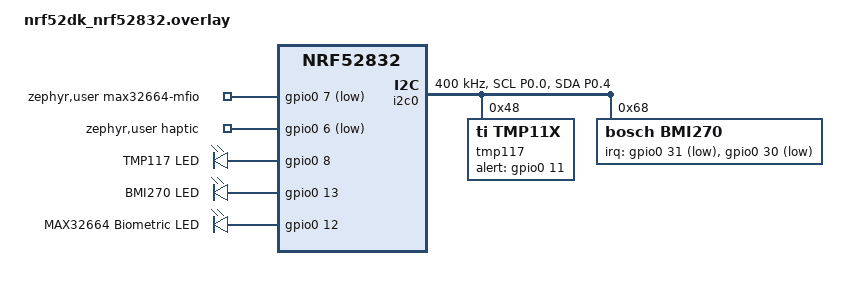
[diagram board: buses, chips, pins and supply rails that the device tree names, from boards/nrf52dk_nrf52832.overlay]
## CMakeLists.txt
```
cmake_minimum_required(VERSION 3.20.0)

set(DTS_ROOT ${DTS_ROOT} ${CMAKE_CURRENT_SOURCE_DIR})

find_package(Zephyr REQUIRED HINTS $ENV{ZEPHYR_BASE})
project(smart_health_band)

zephyr_include_directories(${CMAKE_CURRENT_SOURCE_DIR}/include)

target_sources(app PRIVATE
  src/main.c
  src/board.c
  src/power.c
  src/ble.c
  src/bmi270.c
  src/tmp117.c
  src/max32664.c
)
```

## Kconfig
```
mainmenu "Smart Health Band"

source "Kconfig.zephyr"

menu "Smart Health Band"

config SHB_LOG_LEVEL
	int "Firmware log level"
	range 0 4
	default 3

config SHB_BMI_ANYMOTION_WAKE
	bool "Enable BMI270 any-motion wake"
	default y

config SHB_BMI_ANYMOTION_DURATION_MS
	int "BMI270 any-motion duration (ms)"
	range 20 1000
	default 20
	help
	  Shorter duration is needed to catch impulsive taps. The tap peak
	  verification in firmware then filters out non-tap motion.

config SHB_BMI_ANYMOTION_THRESHOLD_MG
	int "BMI270 any-motion threshold (mg)"
	range 1 1000
	default 500
	help
	  Initial gate for the BMI270 any-motion IRQ. Raised to 500 mg so
	  sustained wrist motion and finger pressure on the PPG sensor do
	  not wake the CPU. Real impulsive taps still produce far higher
	  peaks and fire reliably.

config SHB_BMI_TAP_IMPULSE_MG
	int "Tap impulse threshold: |a|-1g at IRQ-time sample (mg)"
	range 200 3000
	default 600
	help
	  After the any-motion IRQ the firmware samples total accel magnitude
	  and subtracts 1 g (gravity baseline). A real tap briefly spikes
	  well above 1 g; anything below this threshold is rejected as
	  sustained tilt / finger press / walking.

config SHB_BMI_TAP_DECAY_MG
	int "Tap decay threshold: impulse minus follow-up sample (mg)"
	range 100 2000
	default 400
	help
	  Taps are impulsive: the |a|-1g excursion must decay within ~25 ms.
	  A sustained tilt keeps |a| at ~1 g+constant so decay ~= 0 and is
	  rejected. Real taps show decay >> 400 mg between back-to-back
	  samples.

config SHB_BMI_MOTION_ACCEL_THRESHOLD_MG
	int "BMI270 poll-based motion accel delta threshold (mg)"
	range 1 2000
	default 50

config SHB_BMI_MOTION_GYRO_THRESHOLD_MDPS
	int "BMI270 poll-based motion gyro threshold (mdps)"
	range 100 2000000
	default 5000

config SHB_BMI_NO_MOTION_DURATION_MS
	int "BMI270 poll-based no-motion duration (ms)"
	range 100 60000
	default 3000

config SHB_BMI_SIG_MOTION_DURATION_MS
	int "BMI270 poll-based significant-motion duration (ms)"
	range 1000 60000
	default 5000

config SHB_BMI_DOUBLE_TAP_GAP_MS
	int "Maximum gap between two taps for double-tap classification (ms)"
	range 100 800
	default 350
	help
	  Also doubles as the single-tap confirmation timer — a first tap that
	  is not followed by a second within this window is emitted as a
	  single tap.

config SHB_BMI_DOUBLE_TAP_MIN_GAP_MS
	int "Minimum gap between taps to suppress ringing noise (ms)"
	range 50 300
	default 100

config SHB_BMI_TAP_REFRACTORY_MS
	int "Blanking period after any tap event is emitted (ms)"
	range 100 1500
	default 700

config SHB_BMI_INTERRUPT_WATCHDOG_S
	int "BMI270 interrupt watchdog (s)"
	range 0 3600
	default 30

config SHB_SENSOR_POLL_INTERVAL_MS
	int "Sensor poll interval (ms)"
	range 100 60000
	default 1000

config SHB_MAX32664_AGC_ENABLED
	bool "Enable MAX32664 automatic gain control (AGC)"
	default y

config SHB_MAX32664_CAL_TIMEOUT_S
	int "MAX32664 BPT calibration timeout (s, 0 = none)"
	range 0 600
	default 90
	help
	  If BPT calibration progress does not reach 100% within this
	  window, abort the calibration loop instead of blocking forever.
	  The hub's progress counter only advances under continuously
	  stable PPG; wrist placement routinely fails to accumulate
	  because tendon motion keeps resetting it. With a timeout we at
	  least exit cleanly and the main loop can continue running
	  temperature/tap/BLE without the session stuck.

config SHB_MAX32664_THREAD_STACK_SIZE
	int "MAX32664 session thread stack size (bytes)"
	range 2048 8192
	default 4096

config SHB_MAX32664_THREAD_PRIORITY
	int "MAX32664 session thread priority"
	range 1 14
	default 5

config SHB_MAX32664_BP_SYS_REF_0
	int "Systolic BP reference 0 (mmHg)"
	range 60 200
	default 120

config SHB_MAX32664_BP_SYS_REF_1
	int "Systolic BP reference 1 (mmHg)"
	range 60 200
	default 122

config SHB_MAX32664_BP_SYS_REF_2
	int "Systolic BP reference 2 (mmHg)"
	range 60 200
	default 125

config SHB_MAX32664_BP_DIA_REF_0
	int "Diastolic BP reference 0 (mmHg)"
	range 40 130
	default 80

config SHB_MAX32664_BP_DIA_REF_1
	int "Diastolic BP reference 1 (mmHg)"
	range 40 130
	default 81

config SHB_MAX32664_BP_DIA_REF_2
	int "Diastolic BP reference 2 (mmHg)"
	range 40 130
	default 82

config SHB_MAX32664_SPO2_COEF_A
	int "SpO2 coefficient A scaled by 100000 (Maxim default: round(1e5 x 1.5958422) = 159584)"
	default 159584

config SHB_MAX32664_SPO2_COEF_B
	int "SpO2 coefficient B scaled by 100000 (Maxim default: round(1e5 x -34.659664) = -3465966)"
	default -3465966

config SHB_MAX32664_SPO2_COEF_C
	int "SpO2 coefficient C scaled by 100000 (Maxim default: round(1e5 x 112.68987) = 11268987)"
	default 11268987

endmenu
```

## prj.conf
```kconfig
CONFIG_CLOCK_CONTROL_NRF_K32SRC_RC=y
CONFIG_CLOCK_CONTROL_NRF_K32SRC_RC_CALIBRATION=y

CONFIG_I2C=y
CONFIG_GPIO=y
CONFIG_SENSOR=y
CONFIG_EVENTS=y
CONFIG_PM_DEVICE=y

CONFIG_CONSOLE=y
CONFIG_PRINTK=y
CONFIG_LOG=y
CONFIG_LOG_DEFAULT_LEVEL=3
CONFIG_USE_SEGGER_RTT=y
CONFIG_RTT_CONSOLE=y
CONFIG_LOG_BACKEND_RTT=y
CONFIG_UART_CONSOLE=n
CONFIG_SEGGER_RTT_BUFFER_SIZE_UP=2048
CONFIG_THREAD_NAME=y
CONFIG_ASSERT=y

CONFIG_SIZE_OPTIMIZATIONS=y
CONFIG_MAIN_STACK_SIZE=4096
CONFIG_SYSTEM_WORKQUEUE_STACK_SIZE=2048

CONFIG_BMI270=y
CONFIG_BMI270_TRIGGER_OWN_THREAD=y

CONFIG_SHB_BMI_ANYMOTION_WAKE=y
CONFIG_SHB_SENSOR_POLL_INTERVAL_MS=1000

CONFIG_FLASH=y
CONFIG_FLASH_MAP=y
CONFIG_FLASH_PAGE_LAYOUT=y
CONFIG_NVS=y
CONFIG_CRC=y
CONFIG_HEAP_MEM_POOL_SIZE=4096
CONFIG_I2C_NRFX_TRANSFER_TIMEOUT=40

# MAX32664D BPT calibration can remain at 0% for a long time when the
# optical placement is marginal. Do not abort the MAX32664 session after
# 90 s; keep the calibration loop alive so it can complete when the finger
# placement becomes stable enough.
CONFIG_SHB_MAX32664_CAL_TIMEOUT_S=0

# BLE
CONFIG_BT=y
CONFIG_BT_PERIPHERAL=y
CONFIG_BT_DEVICE_NAME="SmartHealth Band"
CONFIG_BT_MAX_CONN=1
CONFIG_BT_SMP=n
CONFIG_BT_L2CAP_TX_MTU=64
CONFIG_BT_BUF_ACL_TX_SIZE=100
CONFIG_BT_BUF_ACL_RX_SIZE=100
CONFIG_BT_RX_STACK_SIZE=1024
CONFIG_BT_GAP_AUTO_UPDATE_CONN_PARAMS=y
CONFIG_BT_ATT_PREPARE_COUNT=0
```

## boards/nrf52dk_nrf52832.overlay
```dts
#include <zephyr/dt-bindings/gpio/gpio.h>
#include <zephyr/dt-bindings/i2c/i2c.h>
#include <zephyr/dt-bindings/pinctrl/nrf-pinctrl.h>

/ {
	zephyr,user {
		/*
		 * CRITICAL FIX:
		 * MAX32664D RSTN is tied to the shared board reset / BMD-350 RESET_N
		 * domain. Do not map P0.21, or any placeholder pin, as firmware-owned
		 * MAX32664 reset. This firmware uses MFIO only and expects the hub to
		 * enter application mode after board power-up / hardware reset.
		 */
		max32664-mfio-gpios = <&gpio0 7 GPIO_ACTIVE_LOW>;
		haptic-gpios = <&gpio0 6 GPIO_ACTIVE_LOW>;
	};

	aliases {
		tmp-led = &tmp_led;
		bmi-led = &bmi_led;
		heart-led = &heart_led;
	};

	leds {
		compatible = "gpio-leds";

		tmp_led: tmp-led {
			gpios = <&gpio0 8 GPIO_ACTIVE_HIGH>;
			label = "TMP117 LED";
		};

		bmi_led: bmi-led {
			gpios = <&gpio0 13 GPIO_ACTIVE_HIGH>;
			label = "BMI270 LED";
		};

		heart_led: heart-led {
			gpios = <&gpio0 12 GPIO_ACTIVE_HIGH>;
			label = "MAX32664 Biometric LED";
		};
	};
};

&pinctrl {
	i2c0_default: i2c0_default {
		group1 {
			psels = <NRF_PSEL(TWIM_SCL, 0, 0)>,
				<NRF_PSEL(TWIM_SDA, 0, 4)>;
			bias-pull-up;
		};
	};

	i2c0_sleep: i2c0_sleep {
		group1 {
			psels = <NRF_PSEL(TWIM_SCL, 0, 0)>,
				<NRF_PSEL(TWIM_SDA, 0, 4)>;
			low-power-enable;
		};
	};
};

&i2c0 {
	compatible = "nordic,nrf-twi";
	status = "okay";
	pinctrl-0 = <&i2c0_default>;
	pinctrl-1 = <&i2c0_sleep>;
	pinctrl-names = "default", "sleep";
	clock-frequency = <I2C_BITRATE_FAST>;

	tmp117: temperature@48 {
		compatible = "ti,tmp11x";
		reg = <0x48>;
		alert-gpios = <&gpio0 11 GPIO_ACTIVE_HIGH>;
		status = "okay";
	};

	bmi270: imu@68 {
		compatible = "bosch,bmi270", "bosch,bmi270-base";
		reg = <0x68>;
		irq-gpios = <&gpio0 31 GPIO_ACTIVE_LOW>,
			    <&gpio0 30 GPIO_ACTIVE_LOW>;
		status = "okay";
	};
};
```

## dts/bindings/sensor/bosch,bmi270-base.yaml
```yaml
description: Bosch BMI270 base binding shim for the Smart Health Band project

compatible: "bosch,bmi270-base"

include:
  - name: sensor-device.yaml
  - name: i2c-device.yaml
```

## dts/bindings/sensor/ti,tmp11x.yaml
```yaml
description: Texas Instruments TMP116/TMP117/TMP119 temperature sensor

compatible: "ti,tmp11x"

include:
  - name: sensor-device.yaml
  - name: i2c-device.yaml

properties:
  alert-gpios:
    type: phandle-array
    description: Optional ALERT pin for threshold or data-ready signaling.
  odr:
    type: int
    default: 0x0000
    description: TMP11x conversion-rate field value written into CFGR.
  oversampling:
    type: int
    default: 0
    description: TMP11x averaging field value written into CFGR.
  alert-polarity:
    type: boolean
  alert-mode:
    type: boolean
  alert-dr-sel:
    type: boolean
  store-attr-values:
    type: boolean
```

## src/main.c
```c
#include <errno.h>
#include <zephyr/drivers/sensor.h>
#include <zephyr/kernel.h>
#include <zephyr/logging/log.h>
#include "shb/ble.h"
#include "shb/board.h"
#include "shb/bmi270.h"
#include "shb/max32664.h"
#include "shb/power.h"
#include "shb/tmp117.h"

LOG_MODULE_REGISTER(shb_main, CONFIG_SHB_LOG_LEVEL);

struct shb_sensor_fmt {
	const char *sign;
	uint32_t whole;
	uint32_t frac;
};

static struct shb_sensor_fmt shb_sensor_fmt_4(const struct sensor_value *value)
{
	int64_t micro = ((int64_t)value->val1 * 1000000LL) + value->val2;
	uint64_t abs_micro = (micro < 0) ? (uint64_t)(-micro) : (uint64_t)micro;
	struct shb_sensor_fmt formatted = {
		.sign = (micro < 0) ? "-" : "",
		.whole = (uint32_t)(abs_micro / 1000000ULL),
		.frac = (uint32_t)((abs_micro % 1000000ULL) / 100ULL),
	};

	return formatted;
}

static void shb_log_temperature(void)
{
	struct sensor_value temp;
	struct shb_sensor_fmt formatted;
	int ret = shb_tmp117_read_temperature(&temp);

	if (ret < 0) {
		LOG_ERR("TMP117 read failed: %d", ret);
		return;
	}

	formatted = shb_sensor_fmt_4(&temp);
	(void)shb_board_led_pulse(SHB_LED_TEMP, K_MSEC(50));
	(void)shb_ble_notify_temperature(&temp);
	LOG_INF("TMP117: %s%u.%04u C",
		formatted.sign,
		(unsigned int)formatted.whole,
		(unsigned int)formatted.frac);
}

static void shb_bmi270_irq_wake_cb(void)
{
	shb_power_signal(SHB_POWER_EVENT_BMI_MOTION);
}

static void shb_log_bmi270(void)
{
	struct shb_bmi270_sample sample;
	struct shb_bmi270_motion_state motion;
	struct shb_sensor_fmt accel_x;
	struct shb_sensor_fmt accel_y;
	struct shb_sensor_fmt accel_z;
	struct shb_sensor_fmt gyro_x;
	struct shb_sensor_fmt gyro_y;
	struct shb_sensor_fmt gyro_z;
	int ret = shb_bmi270_read_sample(&sample);

	if (ret < 0) {
		LOG_ERR("BMI270 sample read failed: %d", ret);
		return;
	}

	(void)shb_bmi270_process_motion(&sample, &motion);
	(void)shb_ble_notify_motion(&motion);

	accel_x = shb_sensor_fmt_4(&sample.accel_xyz[0]);
	accel_y = shb_sensor_fmt_4(&sample.accel_xyz[1]);
	accel_z = shb_sensor_fmt_4(&sample.accel_xyz[2]);
	gyro_x = shb_sensor_fmt_4(&sample.gyro_xyz[0]);
	gyro_y = shb_sensor_fmt_4(&sample.gyro_xyz[1]);
	gyro_z = shb_sensor_fmt_4(&sample.gyro_xyz[2]);

	LOG_INF("BMI270 accel: X=%s%u.%04u Y=%s%u.%04u Z=%s%u.%04u m/s^2 | gyro: X=%s%u.%04u Y=%s%u.%04u Z=%s%u.%04u dps | state=%s accel-delta=%u mg gyro-peak=%u mdps",
		accel_x.sign, (unsigned int)accel_x.whole, (unsigned int)accel_x.frac,
		accel_y.sign, (unsigned int)accel_y.whole, (unsigned int)accel_y.frac,
		accel_z.sign, (unsigned int)accel_z.whole, (unsigned int)accel_z.frac,
		gyro_x.sign, (unsigned int)gyro_x.whole, (unsigned int)gyro_x.frac,
		gyro_y.sign, (unsigned int)gyro_y.whole, (unsigned int)gyro_y.frac,
		gyro_z.sign, (unsigned int)gyro_z.whole, (unsigned int)gyro_z.frac,
		motion.moving ? "moving" : "still",
		(unsigned int)motion.accel_delta_mg,
		(unsigned int)motion.gyro_peak_mdps);

	if ((motion.events & SHB_BMI270_EVENT_MOTION) != 0U) {
		(void)shb_board_led_pulse(SHB_LED_BMI, K_MSEC(50));
		LOG_INF("BMI270 motion detected");
	}

	if ((motion.events & SHB_BMI270_EVENT_SIGNIFICANT_MOTION) != 0U) {
		(void)shb_board_led_pulse(SHB_LED_BMI, K_MSEC(120));
		LOG_INF("BMI270 significant motion detected");
	}

	if ((motion.events & SHB_BMI270_EVENT_NO_MOTION) != 0U) {
		LOG_INF("BMI270 no-motion detected");
	}
}

static void shb_handle_max32664_vitals_event(void)
{
	struct shb_max32664_result latest = { 0 };

	shb_max32664_get_latest(&latest);
	(void)shb_ble_notify_vitals(&latest);
	if (latest.valid) {
		(void)shb_board_led_pulse(SHB_LED_HEART, K_MSEC(60));
	}
}

static void shb_handle_power_events(void)
{
	uint32_t events = shb_power_wait_for_wake(K_NO_WAIT);

	if ((events & SHB_POWER_EVENT_BMI_MOTION) != 0U) {
		LOG_INF("BMI270 INT1 any-motion interrupt observed");
		(void)shb_board_led_pulse(SHB_LED_BMI, K_MSEC(40));
	}

	if ((events & SHB_POWER_EVENT_MAX32664_VITALS) != 0U) {
		shb_handle_max32664_vitals_event();
	}
}

int main(void)
{
	int ret;
	bool max_session_enabled = false;

	LOG_INF("Smart Health Band critical-fix runtime boot");

	ret = shb_board_init();
	if (ret < 0) {
		LOG_ERR("Board initialization failed: %d", ret);
		return ret;
	}

	shb_board_log_pin_summary();

	ret = shb_power_init();
	if (ret < 0) {
		LOG_ERR("Power event initialization failed: %d", ret);
		return ret;
	}

	ret = shb_ble_init();
	if (ret < 0) {
		LOG_ERR("BLE initialization failed: %d", ret);
	} else {
		LOG_INF("BLE initialized");
	}

	ret = shb_tmp117_init();
	if (ret < 0) {
		LOG_ERR("TMP117 missing or misconfigured: %d", ret);
	} else {
		shb_log_temperature();
	}

	ret = shb_bmi270_init(shb_bmi270_irq_wake_cb);
	if (ret < 0) {
		LOG_ERR("BMI270 chip/config failure: %d", ret);
	} else {
		if (IS_ENABLED(CONFIG_SHB_BMI_ANYMOTION_WAKE)) {
			ret = shb_bmi270_configure_any_motion();
			if (ret < 0) {
				LOG_ERR("BMI270 interrupt setup failed: %d", ret);
			}
		}

		LOG_INF("Taking initial BMI270 sample");
		shb_log_bmi270();
	}

	LOG_INF("Starting MAX32664 initialization without firmware-driven RSTN");
	ret = shb_max32664_init();
	if (ret < 0) {
		LOG_ERR("MAX32664 init failed: %d", ret);
		LOG_ERR("If this fails consistently, check that MAX32664 RSTN has a hardware pull-up/shared reset and MFIO defaults high at power-up.");
	} else {
		ret = shb_max32664_start_session();
		if (ret < 0) {
			LOG_ERR("MAX32664 vitals session start failed: %d", ret);
		} else {
			max_session_enabled = true;
			LOG_INF("MAX32664 vitals session started");
		}
	}

	LOG_INF("Polling TMP117 and BMI270 every %d ms; BLE notifications active when connected",
		CONFIG_SHB_SENSOR_POLL_INTERVAL_MS);

	while (1) {
		if (shb_tmp117_is_ready()) {
			shb_log_temperature();
		}

		if (shb_bmi270_is_ready()) {
			shb_log_bmi270();
		}

		if (max_session_enabled || IS_ENABLED(CONFIG_SHB_BMI_ANYMOTION_WAKE)) {
			shb_handle_power_events();
		}

		shb_power_enter_idle();
		k_sleep(K_MSEC(CONFIG_SHB_SENSOR_POLL_INTERVAL_MS));
	}
}
```

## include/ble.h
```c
#ifndef SHB_BLE_H_
#define SHB_BLE_H_

#include <stdbool.h>
#include <stdint.h>
#include <zephyr/drivers/sensor.h>
#include <zephyr/toolchain.h>
#include "shb/bmi270.h"
#include "shb/max32664.h"

struct shb_ble_vitals_payload {
	uint8_t valid;
	uint8_t status;
	uint8_t progress;
	uint8_t sys_bp;
	uint8_t dia_bp;
	uint16_t hr_x10;
	uint16_t spo2_x10;
} __packed;

struct shb_ble_temp_payload {
	int32_t temp_mdeg_c;
} __packed;

struct shb_ble_motion_payload {
	uint8_t moving;
	uint8_t significant_active;
	uint16_t reserved;
	uint32_t events;
	uint32_t accel_delta_mg;
	uint32_t gyro_peak_mdps;
} __packed;

int shb_ble_init(void);
bool shb_ble_is_connected(void);
int shb_ble_notify_vitals(const struct shb_max32664_result *result);
int shb_ble_notify_temperature(const struct sensor_value *temperature);
int shb_ble_notify_motion(const struct shb_bmi270_motion_state *motion);

#endif
```

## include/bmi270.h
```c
#ifndef SHB_BMI270_H_
#define SHB_BMI270_H_

#include <stdbool.h>
#include <stdint.h>
#include <zephyr/drivers/sensor.h>
#include <zephyr/sys/util.h>

typedef void (*shb_bmi270_wake_cb_t)(void);

enum shb_bmi270_motion_event {
	SHB_BMI270_EVENT_NONE               = 0,
	SHB_BMI270_EVENT_MOTION             = BIT(0),
	SHB_BMI270_EVENT_NO_MOTION          = BIT(1),
	SHB_BMI270_EVENT_SIGNIFICANT_MOTION = BIT(2),
	SHB_BMI270_EVENT_TAP                = BIT(3),
	SHB_BMI270_EVENT_DOUBLE_TAP         = BIT(4),
};

struct shb_bmi270_sample {
	struct sensor_value accel_xyz[3];
	struct sensor_value gyro_xyz[3];
};

struct shb_bmi270_motion_state {
	bool moving;
	bool significant_active;
	uint32_t events;
	uint32_t accel_delta_mg;
	uint32_t gyro_peak_mdps;
};

int shb_bmi270_init(shb_bmi270_wake_cb_t wake_cb);
int shb_bmi270_configure_any_motion(void);
int shb_bmi270_read_accel(struct sensor_value accel_xyz[3]);
int shb_bmi270_read_gyro(struct sensor_value gyro_xyz[3]);
int shb_bmi270_read_sample(struct shb_bmi270_sample *sample);
uint32_t shb_bmi270_process_motion(const struct shb_bmi270_sample *sample,
				   struct shb_bmi270_motion_state *state_out);
void shb_bmi270_get_motion_state(struct shb_bmi270_motion_state *state_out);
uint32_t shb_bmi270_consume_gesture_events(void);
bool shb_bmi270_is_ready(void);

#endif
```

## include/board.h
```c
#ifndef SHB_BOARD_H_
#define SHB_BOARD_H_

#include <stdbool.h>
#include <zephyr/kernel.h>

enum shb_led_id {
	SHB_LED_TEMP = 0,
	SHB_LED_BMI,
	SHB_LED_HEART,
	SHB_LED_COUNT,
};

int shb_board_init(void);
void shb_board_log_pin_summary(void);
int shb_board_led_set(enum shb_led_id led, bool on);
int shb_board_led_pulse(enum shb_led_id led, k_timeout_t duration);

#endif
```

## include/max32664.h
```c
#ifndef SHB_MAX32664_H_
#define SHB_MAX32664_H_

#include <stdbool.h>
#include <stdint.h>

struct shb_max32664_result {
	bool valid;
	uint16_t hr_x10;
	uint16_t spo2_x10;
	uint8_t sys_bp;
	uint8_t dia_bp;
	uint8_t status;
	uint8_t progress;
};

int shb_max32664_init(void);
int shb_max32664_start_session(void);
bool shb_max32664_is_ready(void);
void shb_max32664_get_latest(struct shb_max32664_result *result_out);

#endif
```

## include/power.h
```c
#ifndef SHB_POWER_H_
#define SHB_POWER_H_

#include <stdint.h>
#include <zephyr/kernel.h>

enum shb_power_event {
	SHB_POWER_EVENT_BMI_MOTION        = BIT(0),
	SHB_POWER_EVENT_TMP_TIMER         = BIT(1),
	SHB_POWER_EVENT_MAX32664_VITALS   = BIT(2),
	SHB_POWER_EVENT_BMI_GESTURE       = BIT(3),
};

int shb_power_init(void);
void shb_power_enter_idle(void);
void shb_power_signal(uint32_t events);
uint32_t shb_power_wait_for_wake(k_timeout_t timeout);

#endif
```

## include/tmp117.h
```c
#ifndef SHB_TMP117_H_
#define SHB_TMP117_H_

#include <stdbool.h>
#include <zephyr/drivers/sensor.h>

int shb_tmp117_init(void);
int shb_tmp117_read_temperature(struct sensor_value *temperature);
bool shb_tmp117_is_ready(void);

#endif
```

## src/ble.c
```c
#include <errno.h>
#include <stddef.h>
#include <stdint.h>
#include <string.h>

#include <zephyr/bluetooth/bluetooth.h>
#include <zephyr/bluetooth/conn.h>
#include <zephyr/bluetooth/gatt.h>
#include <zephyr/bluetooth/uuid.h>
#include <zephyr/drivers/sensor.h>
#include <zephyr/kernel.h>
#include <zephyr/logging/log.h>
#include <zephyr/settings/settings.h>
#include <zephyr/sys/byteorder.h>

#include "shb/ble.h"

LOG_MODULE_REGISTER(shb_ble, CONFIG_SHB_LOG_LEVEL);

/* 128-bit vendor service UUIDs: f364xxxx-8f22-4c9f-9a58-8d62c6f2b001 */
#define BT_UUID_SHB_SERVICE_VAL \
	BT_UUID_128_ENCODE(0xf3640000, 0x8f22, 0x4c9f, 0x9a58, 0x8d62c6f2b001)
#define BT_UUID_SHB_VITALS_VAL \
	BT_UUID_128_ENCODE(0xf3640001, 0x8f22, 0x4c9f, 0x9a58, 0x8d62c6f2b001)
#define BT_UUID_SHB_TEMP_VAL \
	BT_UUID_128_ENCODE(0xf3640002, 0x8f22, 0x4c9f, 0x9a58, 0x8d62c6f2b001)
#define BT_UUID_SHB_MOTION_VAL \
	BT_UUID_128_ENCODE(0xf3640003, 0x8f22, 0x4c9f, 0x9a58, 0x8d62c6f2b001)

static struct bt_uuid_128 shb_service_uuid = BT_UUID_INIT_128(BT_UUID_SHB_SERVICE_VAL);
static struct bt_uuid_128 shb_vitals_uuid = BT_UUID_INIT_128(BT_UUID_SHB_VITALS_VAL);
static struct bt_uuid_128 shb_temp_uuid = BT_UUID_INIT_128(BT_UUID_SHB_TEMP_VAL);
static struct bt_uuid_128 shb_motion_uuid = BT_UUID_INIT_128(BT_UUID_SHB_MOTION_VAL);

static struct bt_conn *shb_current_conn;
static bool shb_ble_ready;

static struct shb_ble_vitals_payload shb_latest_vitals;
static struct shb_ble_temp_payload shb_latest_temp;
static struct shb_ble_motion_payload shb_latest_motion;

static ssize_t read_vitals(struct bt_conn *conn, const struct bt_gatt_attr *attr,
				  void *buf, uint16_t len, uint16_t offset)
{
	const struct shb_ble_vitals_payload *value = attr->user_data;

	return bt_gatt_attr_read(conn, attr, buf, len, offset, value, sizeof(*value));
}

static ssize_t read_temp(struct bt_conn *conn, const struct bt_gatt_attr *attr,
			       void *buf, uint16_t len, uint16_t offset)
{
	const struct shb_ble_temp_payload *value = attr->user_data;

	return bt_gatt_attr_read(conn, attr, buf, len, offset, value, sizeof(*value));
}

static ssize_t read_motion(struct bt_conn *conn, const struct bt_gatt_attr *attr,
				  void *buf, uint16_t len, uint16_t offset)
{
	const struct shb_ble_motion_payload *value = attr->user_data;

	return bt_gatt_attr_read(conn, attr, buf, len, offset, value, sizeof(*value));
}

BT_GATT_SERVICE_DEFINE(shb_svc,
	BT_GATT_PRIMARY_SERVICE(&shb_service_uuid),

	BT_GATT_CHARACTERISTIC(&shb_vitals_uuid.uuid,
		BT_GATT_CHRC_READ | BT_GATT_CHRC_NOTIFY,
		BT_GATT_PERM_READ,
		read_vitals, NULL, &shb_latest_vitals),
	BT_GATT_CCC(NULL, BT_GATT_PERM_READ | BT_GATT_PERM_WRITE),

	BT_GATT_CHARACTERISTIC(&shb_temp_uuid.uuid,
		BT_GATT_CHRC_READ | BT_GATT_CHRC_NOTIFY,
		BT_GATT_PERM_READ,
		read_temp, NULL, &shb_latest_temp),
	BT_GATT_CCC(NULL, BT_GATT_PERM_READ | BT_GATT_PERM_WRITE),

	BT_GATT_CHARACTERISTIC(&shb_motion_uuid.uuid,
		BT_GATT_CHRC_READ | BT_GATT_CHRC_NOTIFY,
		BT_GATT_PERM_READ,
		read_motion, NULL, &shb_latest_motion),
	BT_GATT_CCC(NULL, BT_GATT_PERM_READ | BT_GATT_PERM_WRITE)
);

#define SHB_ATTR_VITALS_VALUE 2
#define SHB_ATTR_TEMP_VALUE 5
#define SHB_ATTR_MOTION_VALUE 8

static const struct bt_data ad[] = {
	BT_DATA_BYTES(BT_DATA_FLAGS, (BT_LE_AD_GENERAL | BT_LE_AD_NO_BREDR)),
	BT_DATA(BT_DATA_NAME_COMPLETE, CONFIG_BT_DEVICE_NAME, sizeof(CONFIG_BT_DEVICE_NAME) - 1),
};

static void connected(struct bt_conn *conn, uint8_t err)
{
	if (err != 0U) {
		LOG_WRN("BLE connection failed: 0x%02x", err);
		return;
	}

	shb_current_conn = bt_conn_ref(conn);
	LOG_INF("BLE connected");
}

static void disconnected(struct bt_conn *conn, uint8_t reason)
{
	ARG_UNUSED(conn);

	if (shb_current_conn != NULL) {
		bt_conn_unref(shb_current_conn);
		shb_current_conn = NULL;
	}

	LOG_INF("BLE disconnected: 0x%02x", reason);
}

BT_CONN_CB_DEFINE(shb_conn_callbacks) = {
	.connected = connected,
	.disconnected = disconnected,
};

int shb_ble_init(void)
{
	int ret;

	ret = bt_enable(NULL);
	if (ret != 0) {
		LOG_ERR("bt_enable failed: %d", ret);
		return ret;
	}

	if (IS_ENABLED(CONFIG_SETTINGS)) {
		settings_load();
	}

	ret = bt_le_adv_start(BT_LE_ADV_CONN, ad, ARRAY_SIZE(ad), NULL, 0);
	if (ret != 0) {
		LOG_ERR("BLE advertising start failed: %d", ret);
		return ret;
	}

	shb_ble_ready = true;
	LOG_INF("BLE advertising as %s", CONFIG_BT_DEVICE_NAME);
	return 0;
}

bool shb_ble_is_connected(void)
{
	return shb_current_conn != NULL;
}

int shb_ble_notify_vitals(const struct shb_max32664_result *result)
{
	if ((result == NULL) || !shb_ble_ready) {
		return -EINVAL;
	}

	shb_latest_vitals.valid = result->valid ? 1U : 0U;
	shb_latest_vitals.status = result->status;
	shb_latest_vitals.progress = result->progress;
	shb_latest_vitals.sys_bp = result->sys_bp;
	shb_latest_vitals.dia_bp = result->dia_bp;
	shb_latest_vitals.hr_x10 = sys_cpu_to_le16(result->hr_x10);
	shb_latest_vitals.spo2_x10 = sys_cpu_to_le16(result->spo2_x10);

	if (shb_current_conn == NULL) {
		return 0;
	}

	return bt_gatt_notify(NULL, &shb_svc.attrs[SHB_ATTR_VITALS_VALUE],
			      &shb_latest_vitals, sizeof(shb_latest_vitals));
}

int shb_ble_notify_temperature(const struct sensor_value *temperature)
{
	int64_t micro_c;

	if ((temperature == NULL) || !shb_ble_ready) {
		return -EINVAL;
	}

	micro_c = ((int64_t)temperature->val1 * 1000000LL) + temperature->val2;
	shb_latest_temp.temp_mdeg_c = (int32_t)(micro_c / 1000LL);

	if (shb_current_conn == NULL) {
		return 0;
	}

	return bt_gatt_notify(NULL, &shb_svc.attrs[SHB_ATTR_TEMP_VALUE],
			      &shb_latest_temp, sizeof(shb_latest_temp));
}

int shb_ble_notify_motion(const struct shb_bmi270_motion_state *motion)
{
	if ((motion == NULL) || !shb_ble_ready) {
		return -EINVAL;
	}

	shb_latest_motion.moving = motion->moving ? 1U : 0U;
	shb_latest_motion.significant_active = motion->significant_active ? 1U : 0U;
	shb_latest_motion.reserved = 0U;
	shb_latest_motion.events = sys_cpu_to_le32(motion->events);
	shb_latest_motion.accel_delta_mg = sys_cpu_to_le32(motion->accel_delta_mg);
	shb_latest_motion.gyro_peak_mdps = sys_cpu_to_le32(motion->gyro_peak_mdps);

	if (shb_current_conn == NULL) {
		return 0;
	}

	return bt_gatt_notify(NULL, &shb_svc.attrs[SHB_ATTR_MOTION_VALUE],
			      &shb_latest_motion, sizeof(shb_latest_motion));
}
```

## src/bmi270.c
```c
#include <errno.h>
#include <string.h>
#include <zephyr/device.h>
#include <zephyr/devicetree.h>
#include <zephyr/drivers/sensor.h>
#include <zephyr/kernel.h>
#include <zephyr/logging/log.h>
#include <zephyr/sys/atomic.h>
#include "bmi270.h"
#include "power.h"

LOG_MODULE_REGISTER(shb_bmi270, CONFIG_SHB_LOG_LEVEL);

#define SHB_GRAVITY_UMS2_PER_G 9806650LL

static const struct device *const shb_bmi270_dev = DEVICE_DT_GET(DT_NODELABEL(bmi270));
static struct sensor_trigger shb_motion_trigger = {
	.type = SENSOR_TRIG_MOTION,
	.chan = SENSOR_CHAN_ACCEL_XYZ,
};
static shb_bmi270_wake_cb_t shb_motion_wake_cb;
static bool shb_bmi270_ready;
static bool shb_bmi270_motion_seen;
static struct k_work_delayable shb_bmi270_watchdog_work;
static struct shb_bmi270_motion_state shb_motion_state;
static struct sensor_value shb_prev_accel[3];
static bool shb_prev_accel_valid;
static int64_t shb_motion_started_ms;
static int64_t shb_last_motion_ms;
static bool shb_no_motion_reported;

static atomic_t            shb_gesture_events_atom;
static struct k_spinlock   shb_tap_lock;
static bool                shb_tap_pending;
static int64_t             shb_first_tap_ms;
static int64_t             shb_last_event_ms;   /* refractory reference */
static struct k_work_delayable shb_tap_confirm_work;

static int64_t shb_sensor_value_to_micro(const struct sensor_value *value)
{
	return ((int64_t)value->val1 * 1000000LL) + value->val2;
}

static uint32_t shb_abs_u32_from_i64(int64_t value)
{
	return (uint32_t)((value < 0) ? -value : value);
}

static uint32_t shb_accel_micro_to_mg(uint32_t accel_micro)
{
	return (uint32_t)(((uint64_t)accel_micro * 1000ULL) / SHB_GRAVITY_UMS2_PER_G);
}

static uint32_t shb_compute_accel_delta_micro(const struct sensor_value accel_xyz[3])
{
	uint32_t peak_delta = 0U;

	if (!shb_prev_accel_valid) {
		return 0U;
	}

	for (size_t axis = 0; axis < 3U; ++axis) {
		int64_t delta = shb_sensor_value_to_micro(&accel_xyz[axis]) -
				shb_sensor_value_to_micro(&shb_prev_accel[axis]);
		uint32_t abs_delta = shb_abs_u32_from_i64(delta);

		if (abs_delta > peak_delta) {
			peak_delta = abs_delta;
		}
	}

	return peak_delta;
}

static uint32_t shb_compute_gyro_peak_micro(const struct sensor_value gyro_xyz[3])
{
	uint32_t peak = 0U;

	for (size_t axis = 0; axis < 3U; ++axis) {
		uint32_t abs_axis = shb_abs_u32_from_i64(shb_sensor_value_to_micro(&gyro_xyz[axis]));
		if (abs_axis > peak) {
			peak = abs_axis;
		}
	}

	return peak;
}

static void shb_tap_confirm_handler(struct k_work *work)
{
	ARG_UNUSED(work);
	k_spinlock_key_t key = k_spin_lock(&shb_tap_lock);
	bool pending = shb_tap_pending;
	shb_tap_pending = false;
	if (pending) {
		shb_last_event_ms = k_uptime_get();
	}
	k_spin_unlock(&shb_tap_lock, key);

	if (pending) {
		atomic_or(&shb_gesture_events_atom, SHB_BMI270_EVENT_TAP);
		shb_power_signal(SHB_POWER_EVENT_BMI_GESTURE);
		LOG_DBG("Single tap confirmed");
	}
}

static void shb_bmi270_watchdog_handler(struct k_work *work)
{
	ARG_UNUSED(work);

	if (!shb_bmi270_motion_seen) {
		LOG_WRN("BMI270 interrupt not observed within %d s; check INT1 (P0.31)",
			CONFIG_SHB_BMI_INTERRUPT_WATCHDOG_S);
	}
}

/*
 * Integer square root (Newton's method). Used to compute |a| from
 * squared accel magnitude without pulling in libm.
 */
static uint64_t shb_isqrt_u64(uint64_t n)
{
	uint64_t x;
	uint64_t y;

	if (n == 0U) {
		return 0U;
	}
	x = n;
	y = (x + 1U) / 2U;
	while (y < x) {
		x = y;
		y = (x + n / x) / 2U;
	}
	return x;
}

/*
 * Return |a|-1g in millig for the current sample, where
 * |a| = sqrt(ax^2 + ay^2 + az^2). Positive when accel exceeds gravity,
 * negative when below. Returns 0 on I2C / fetch error (caller treats
 * a zero excursion as not-a-tap).
 */
static int32_t shb_read_excursion_mg(void)
{
	struct sensor_value accel[3];
	int64_t ax_um, ay_um, az_um;
	int64_t ax_mg, ay_mg, az_mg;
	uint64_t sq_mg2;
	uint64_t mag_mg;

	if (sensor_sample_fetch(shb_bmi270_dev) < 0) {
		return 0;
	}
	if (sensor_channel_get(shb_bmi270_dev, SENSOR_CHAN_ACCEL_XYZ, accel) < 0) {
		return 0;
	}

	ax_um = shb_sensor_value_to_micro(&accel[0]);
	ay_um = shb_sensor_value_to_micro(&accel[1]);
	az_um = shb_sensor_value_to_micro(&accel[2]);

	ax_mg = (ax_um * 1000LL) / SHB_GRAVITY_UMS2_PER_G;
	ay_mg = (ay_um * 1000LL) / SHB_GRAVITY_UMS2_PER_G;
	az_mg = (az_um * 1000LL) / SHB_GRAVITY_UMS2_PER_G;

	sq_mg2 = (uint64_t)(ax_mg * ax_mg) +
		 (uint64_t)(ay_mg * ay_mg) +
		 (uint64_t)(az_mg * az_mg);
	mag_mg = shb_isqrt_u64(sq_mg2);

	return (int32_t)((int64_t)mag_mg - 1000LL);
}

/*
 * Impulsive-tap classifier. A real finger tap produces a short spike
 * where total acceleration briefly leaves 1 g and returns within
 * ~25 ms. Sustained events — wrist rotation, finger pressure on the
 * PPG sensor, walking — keep |a| near 1 g on some axis orientation,
 * so either the excursion is small OR it does not decay.
 *
 * Two-sample test:
 *   1. |a|-1g at IRQ time must exceed IMPULSE_MG.
 *   2. Sleep 25 ms, read again.
 *   3. (|excursion_1| - |excursion_2|) must exceed DECAY_MG.
 *
 * Runs in the BMI270 trigger thread where blocking I2C + k_msleep
 * are safe (CONFIG_BMI270_TRIGGER_OWN_THREAD=y).
 */
static bool shb_motion_is_tap_like(void)
{
	int32_t exc1 = shb_read_excursion_mg();
	int32_t abs1 = (exc1 < 0) ? -exc1 : exc1;
	int32_t exc2;
	int32_t abs2;

	if (abs1 < CONFIG_SHB_BMI_TAP_IMPULSE_MG) {
		return false;
	}

	k_msleep(25);

	exc2 = shb_read_excursion_mg();
	abs2 = (exc2 < 0) ? -exc2 : exc2;

	return (abs1 - abs2) >= CONFIG_SHB_BMI_TAP_DECAY_MG;
}

static void shb_bmi270_motion_callback(const struct device *dev,
				       const struct sensor_trigger *trigger)
{
	ARG_UNUSED(dev);
	ARG_UNUSED(trigger);
	int64_t now;
	k_spinlock_key_t key;

	shb_bmi270_motion_seen = true;
	if (CONFIG_SHB_BMI_INTERRUPT_WATCHDOG_S > 0) {
		(void)k_work_cancel_delayable(&shb_bmi270_watchdog_work);
	}

	if (shb_motion_wake_cb != NULL) {
		shb_motion_wake_cb();
	}

	/*
	 * Reject non-impulsive motion (waves, wrist raises, walking). Only
	 * impulsive events above the peak threshold qualify as tap candidates.
	 */
	if (!shb_motion_is_tap_like()) {
		return;
	}

	/*
	 * Tap / double-tap state machine.
	 *   REFRACTORY_MS     — blanking window after any confirmed emission,
	 *                       absorbs post-impact ringing.
	 *   MIN_GAP_MS        — minimum spacing between two taps of a double.
	 *   DOUBLE_TAP_GAP_MS — maximum spacing; also the confirm timer for
	 *                       turning a pending first tap into a SINGLE_TAP.
	 */
	now = k_uptime_get();
	key = k_spin_lock(&shb_tap_lock);

	if ((shb_last_event_ms != 0) &&
	    ((now - shb_last_event_ms) < CONFIG_SHB_BMI_TAP_REFRACTORY_MS)) {
		k_spin_unlock(&shb_tap_lock, key);
		return;
	}

	if (shb_tap_pending) {
		int64_t gap = now - shb_first_tap_ms;

		if (gap < CONFIG_SHB_BMI_DOUBLE_TAP_MIN_GAP_MS) {
			k_spin_unlock(&shb_tap_lock, key);
			return;
		}

		if (gap <= CONFIG_SHB_BMI_DOUBLE_TAP_GAP_MS) {
			shb_tap_pending   = false;
			shb_last_event_ms = now;
			k_spin_unlock(&shb_tap_lock, key);
			(void)k_work_cancel_delayable(&shb_tap_confirm_work);
			atomic_or(&shb_gesture_events_atom, SHB_BMI270_EVENT_DOUBLE_TAP);
			shb_power_signal(SHB_POWER_EVENT_BMI_GESTURE);
			LOG_DBG("Double-tap (gap=%lld ms)", gap);
			return;
		}

		/* Window expired — start fresh */
		shb_tap_pending  = true;
		shb_first_tap_ms = now;
		k_spin_unlock(&shb_tap_lock, key);
		(void)k_work_reschedule(&shb_tap_confirm_work,
					K_MSEC(CONFIG_SHB_BMI_DOUBLE_TAP_GAP_MS));
		return;
	}

	shb_tap_pending  = true;
	shb_first_tap_ms = now;
	k_spin_unlock(&shb_tap_lock, key);
	(void)k_work_reschedule(&shb_tap_confirm_work,
				K_MSEC(CONFIG_SHB_BMI_DOUBLE_TAP_GAP_MS));
}

static int shb_bmi270_configure_accel_path(void)
{
	struct sensor_value full_scale = { .val1 = 2, .val2 = 0 };
	struct sensor_value sampling_freq = { .val1 = 50, .val2 = 0 };
	struct sensor_value oversampling = { .val1 = 4, .val2 = 0 };
	int ret;

	ret = sensor_attr_set(shb_bmi270_dev, SENSOR_CHAN_ACCEL_XYZ,
			      SENSOR_ATTR_FULL_SCALE, &full_scale);
	if (ret < 0) {
		return ret;
	}

	ret = sensor_attr_set(shb_bmi270_dev, SENSOR_CHAN_ACCEL_XYZ,
			      SENSOR_ATTR_OVERSAMPLING, &oversampling);
	if (ret < 0) {
		return ret;
	}

	return sensor_attr_set(shb_bmi270_dev, SENSOR_CHAN_ACCEL_XYZ,
			       SENSOR_ATTR_SAMPLING_FREQUENCY, &sampling_freq);
}

static int shb_bmi270_configure_gyro_path(void)
{
	struct sensor_value full_scale = { .val1 = 500, .val2 = 0 };
	struct sensor_value sampling_freq = { .val1 = 100, .val2 = 0 };
	struct sensor_value oversampling = { .val1 = 1, .val2 = 0 };
	int ret;

	ret = sensor_attr_set(shb_bmi270_dev, SENSOR_CHAN_GYRO_XYZ,
			      SENSOR_ATTR_FULL_SCALE, &full_scale);
	if (ret < 0) {
		return ret;
	}

	ret = sensor_attr_set(shb_bmi270_dev, SENSOR_CHAN_GYRO_XYZ,
			      SENSOR_ATTR_OVERSAMPLING, &oversampling);
	if (ret < 0) {
		return ret;
	}

	return sensor_attr_set(shb_bmi270_dev, SENSOR_CHAN_GYRO_XYZ,
			       SENSOR_ATTR_SAMPLING_FREQUENCY, &sampling_freq);
}

int shb_bmi270_init(shb_bmi270_wake_cb_t wake_cb)
{
	int ret;

	if (!device_is_ready(shb_bmi270_dev)) {
		LOG_ERR("BMI270 device is not ready on I2C address 0x68");
		return -ENODEV;
	}

	shb_motion_wake_cb = wake_cb;
	ret = shb_bmi270_configure_accel_path();
	if (ret < 0) {
		LOG_ERR("BMI270 accel path configuration failed: %d", ret);
		return ret;
	}

	ret = shb_bmi270_configure_gyro_path();
	if (ret < 0) {
		LOG_ERR("BMI270 gyro path configuration failed: %d", ret);
		return ret;
	}

	shb_bmi270_ready = true;
	shb_bmi270_motion_seen = false;
	shb_prev_accel_valid = false;
	memset(&shb_motion_state, 0, sizeof(shb_motion_state));
	shb_motion_started_ms = 0;
	shb_last_motion_ms = 0;
	shb_no_motion_reported = false;
	k_work_init_delayable(&shb_bmi270_watchdog_work, shb_bmi270_watchdog_handler);
	atomic_clear(&shb_gesture_events_atom);
	k_work_init_delayable(&shb_tap_confirm_work, shb_tap_confirm_handler);
	shb_tap_pending  = false;
	shb_first_tap_ms = 0;
	shb_last_event_ms = 0;
	LOG_INF("BMI270 ready");

	return 0;
}

int shb_bmi270_configure_any_motion(void)
{
	struct sensor_value duration = {
		.val1 = CONFIG_SHB_BMI_ANYMOTION_DURATION_MS,
		.val2 = 0,
	};
	struct sensor_value threshold = {
		.val1 = 0,
		.val2 = CONFIG_SHB_BMI_ANYMOTION_THRESHOLD_MG * 1000,
	};
	int ret;

	if (!shb_bmi270_ready) {
		return -ENODEV;
	}

	ret = sensor_attr_set(shb_bmi270_dev, SENSOR_CHAN_ACCEL_XYZ,
			      SENSOR_ATTR_SLOPE_DUR, &duration);
	if (ret < 0) {
		return ret;
	}

	ret = sensor_attr_set(shb_bmi270_dev, SENSOR_CHAN_ACCEL_XYZ,
			      SENSOR_ATTR_SLOPE_TH, &threshold);
	if (ret < 0) {
		return ret;
	}

	ret = sensor_trigger_set(shb_bmi270_dev, &shb_motion_trigger,
				 shb_bmi270_motion_callback);
	if (ret < 0) {
		return ret;
	}

	if (CONFIG_SHB_BMI_INTERRUPT_WATCHDOG_S > 0) {
		(void)k_work_schedule(&shb_bmi270_watchdog_work,
				      K_SECONDS(CONFIG_SHB_BMI_INTERRUPT_WATCHDOG_S));
	}

	LOG_INF("BMI270 INT1 armed (%d mg / %d ms)",
		CONFIG_SHB_BMI_ANYMOTION_THRESHOLD_MG,
		CONFIG_SHB_BMI_ANYMOTION_DURATION_MS);
	return 0;
}

int shb_bmi270_read_accel(struct sensor_value accel_xyz[3])
{
	int ret;

	if (!shb_bmi270_ready) {
		return -ENODEV;
	}

	ret = sensor_sample_fetch(shb_bmi270_dev);
	if (ret < 0) {
		return ret;
	}

	return sensor_channel_get(shb_bmi270_dev, SENSOR_CHAN_ACCEL_XYZ, accel_xyz);
}

int shb_bmi270_read_gyro(struct sensor_value gyro_xyz[3])
{
	int ret;

	if (!shb_bmi270_ready) {
		return -ENODEV;
	}

	ret = sensor_sample_fetch(shb_bmi270_dev);
	if (ret < 0) {
		return ret;
	}

	return sensor_channel_get(shb_bmi270_dev, SENSOR_CHAN_GYRO_XYZ, gyro_xyz);
}

int shb_bmi270_read_sample(struct shb_bmi270_sample *sample)
{
	int ret;

	if ((sample == NULL) || !shb_bmi270_ready) {
		return -EINVAL;
	}

	ret = sensor_sample_fetch(shb_bmi270_dev);
	if (ret < 0) {
		return ret;
	}

	ret = sensor_channel_get(shb_bmi270_dev, SENSOR_CHAN_ACCEL_XYZ, sample->accel_xyz);
	if (ret < 0) {
		return ret;
	}

	return sensor_channel_get(shb_bmi270_dev, SENSOR_CHAN_GYRO_XYZ, sample->gyro_xyz);
}

uint32_t shb_bmi270_process_motion(const struct shb_bmi270_sample *sample,
				   struct shb_bmi270_motion_state *state_out)
{
	uint32_t events = SHB_BMI270_EVENT_NONE;
	uint32_t accel_delta_micro;
	uint32_t accel_threshold_micro;
	uint32_t gyro_peak_micro;
	uint32_t gyro_threshold_micro;
	bool moving_now;
	int64_t now_ms;

	if (sample == NULL) {
		return SHB_BMI270_EVENT_NONE;
	}

	accel_delta_micro = shb_compute_accel_delta_micro(sample->accel_xyz);
	accel_threshold_micro = (uint32_t)(((uint64_t)CONFIG_SHB_BMI_MOTION_ACCEL_THRESHOLD_MG *
					      SHB_GRAVITY_UMS2_PER_G) / 1000ULL);
	gyro_peak_micro = shb_compute_gyro_peak_micro(sample->gyro_xyz);
	gyro_threshold_micro = (uint32_t)CONFIG_SHB_BMI_MOTION_GYRO_THRESHOLD_MDPS * 1000U;
	moving_now = (accel_delta_micro >= accel_threshold_micro) ||
		     (gyro_peak_micro >= gyro_threshold_micro);
	now_ms = k_uptime_get();

	shb_motion_state.events = SHB_BMI270_EVENT_NONE;
	shb_motion_state.accel_delta_mg = shb_accel_micro_to_mg(accel_delta_micro);
	shb_motion_state.gyro_peak_mdps = gyro_peak_micro / 1000U;
	shb_motion_state.moving = moving_now;

	if (moving_now) {
		if (shb_motion_started_ms == 0) {
			shb_motion_started_ms = now_ms;
		}

		if (!shb_motion_state.significant_active &&
		    ((now_ms - shb_motion_started_ms) >= CONFIG_SHB_BMI_SIG_MOTION_DURATION_MS)) {
			events |= SHB_BMI270_EVENT_SIGNIFICANT_MOTION;
			shb_motion_state.significant_active = true;
		}

		if ((shb_last_motion_ms == 0) || !shb_prev_accel_valid || shb_no_motion_reported) {
			events |= SHB_BMI270_EVENT_MOTION;
		}

		shb_last_motion_ms = now_ms;
		shb_no_motion_reported = false;
	} else {
		if ((shb_last_motion_ms != 0) && !shb_no_motion_reported &&
		    ((now_ms - shb_last_motion_ms) >= CONFIG_SHB_BMI_NO_MOTION_DURATION_MS)) {
			events |= SHB_BMI270_EVENT_NO_MOTION;
			shb_no_motion_reported = true;
			shb_motion_state.significant_active = false;
			shb_motion_started_ms = 0;
		}
	}

	shb_motion_state.events = events;
	memcpy(shb_prev_accel, sample->accel_xyz, sizeof(shb_prev_accel));
	shb_prev_accel_valid = true;

	if (state_out != NULL) {
		*state_out = shb_motion_state;
	}

	return events;
}

void shb_bmi270_get_motion_state(struct shb_bmi270_motion_state *state_out)
{
	if (state_out != NULL) {
		*state_out = shb_motion_state;
	}
}

uint32_t shb_bmi270_consume_gesture_events(void)
{
	return (uint32_t)atomic_clear(&shb_gesture_events_atom);
}

bool shb_bmi270_is_ready(void)
{
	return shb_bmi270_ready;
}
```

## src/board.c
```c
#include <zephyr/device.h>
#include <zephyr/devicetree.h>
#include <zephyr/drivers/gpio.h>
#include <zephyr/kernel.h>
#include <zephyr/logging/log.h>
#include "shb/board.h"

LOG_MODULE_REGISTER(shb_board, CONFIG_SHB_LOG_LEVEL);

struct shb_led_ctx {
	struct gpio_dt_spec spec;
	struct k_work_delayable off_work;
	bool ready;
};

static struct shb_led_ctx shb_leds[SHB_LED_COUNT] = {
	[SHB_LED_TEMP] = {
		.spec = GPIO_DT_SPEC_GET_OR(DT_ALIAS(tmp_led), gpios, { 0 }),
	},
	[SHB_LED_BMI] = {
		.spec = GPIO_DT_SPEC_GET_OR(DT_ALIAS(bmi_led), gpios, { 0 }),
	},
	[SHB_LED_HEART] = {
		.spec = GPIO_DT_SPEC_GET_OR(DT_ALIAS(heart_led), gpios, { 0 }),
	},
};

static void shb_led_off_work(struct k_work *work)
{
	struct k_work_delayable *delayable = k_work_delayable_from_work(work);

	for (size_t i = 0; i < SHB_LED_COUNT; ++i) {
		if ((&shb_leds[i].off_work == delayable) && shb_leds[i].ready) {
			(void)gpio_pin_set_dt(&shb_leds[i].spec, 0);
		}
	}
}

int shb_board_init(void)
{
	for (size_t i = 0; i < SHB_LED_COUNT; ++i) {
		k_work_init_delayable(&shb_leds[i].off_work, shb_led_off_work);
		if (!gpio_is_ready_dt(&shb_leds[i].spec)) {
			continue;
		}

		if (gpio_pin_configure_dt(&shb_leds[i].spec, GPIO_OUTPUT_INACTIVE) == 0) {
			shb_leds[i].ready = true;
		}
	}

	return 0;
}

void shb_board_log_pin_summary(void)
{
	LOG_INF("Board target: Smart Health Band BMD-350/nRF52832 custom PCB overlay");
	LOG_INF("Main I2C bus: SCL=P0.00 SDA=P0.04");
	LOG_INF("TMP117 pins: ALERT=P0.11 LED=P0.08");
	LOG_INF("BMI270 pins: INT1=P0.31 INT2=P0.30 LED=P0.13");
	LOG_INF("MAX32664D pins: MFIO=P0.07 only; RSTN is NOT driven by firmware");
	LOG_INF("Biometric LED: P0.12");
}

int shb_board_led_set(enum shb_led_id led, bool on)
{
	if ((led >= SHB_LED_COUNT) || !shb_leds[led].ready) {
		return 0;
	}

	return gpio_pin_set_dt(&shb_leds[led].spec, on ? 1 : 0);
}

int shb_board_led_pulse(enum shb_led_id led, k_timeout_t duration)
{
	int ret;

	if ((led >= SHB_LED_COUNT) || !shb_leds[led].ready) {
		return 0;
	}

	ret = gpio_pin_set_dt(&shb_leds[led].spec, 1);
	if (ret < 0) {
		return ret;
	}

	return k_work_schedule(&shb_leds[led].off_work, duration);
}
```

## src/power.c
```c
#include <zephyr/logging/log.h>
#include "shb/power.h"

LOG_MODULE_REGISTER(shb_power, CONFIG_SHB_LOG_LEVEL);

static struct k_event shb_wake_events;
static bool shb_idle_logged;

int shb_power_init(void)
{
	k_event_init(&shb_wake_events);
	shb_idle_logged = false;
	return 0;
}

void shb_power_enter_idle(void)
{
	if (!shb_idle_logged) {
		LOG_INF("Power mode: event-driven idle prepared; full system-off is deferred until sensor/BLE validation");
		shb_idle_logged = true;
	}
}

void shb_power_signal(uint32_t events)
{
	k_event_post(&shb_wake_events, events);
}

uint32_t shb_power_wait_for_wake(k_timeout_t timeout)
{
	return k_event_wait(&shb_wake_events,
			    SHB_POWER_EVENT_BMI_MOTION |
			    SHB_POWER_EVENT_TMP_TIMER |
			    SHB_POWER_EVENT_MAX32664_VITALS,
			    true, timeout);
}
```

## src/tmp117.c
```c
#include <errno.h>
#include <zephyr/devicetree.h>
#include <zephyr/drivers/i2c.h>
#include <zephyr/logging/log.h>
#include "tmp117.h"

LOG_MODULE_REGISTER(shb_tmp117, CONFIG_SHB_LOG_LEVEL);

#define TMP117_REG_TEMP 0x00
#define TMP117_REG_CONFIG 0x01
#define TMP117_REG_DEVICE_ID 0x0F
#define TMP117_DEVICE_ID 0x0117
#define TMP117_TEMP_RESOLUTION_UC 78125

static const struct i2c_dt_spec shb_tmp117 = I2C_DT_SPEC_GET(DT_NODELABEL(tmp117));
static bool shb_tmp117_ready;

static int shb_tmp117_reg_read(uint8_t reg, uint16_t *value)
{
	uint8_t buf[2];
	int ret = i2c_write_read_dt(&shb_tmp117, &reg, sizeof(reg), buf, sizeof(buf));

	if (ret < 0) {
		return ret;
	}

	*value = ((uint16_t)buf[0] << 8) | buf[1];
	return 0;
}

int shb_tmp117_init(void)
{
	uint16_t dev_id = 0U;

	if (!i2c_is_ready_dt(&shb_tmp117)) {
		LOG_ERR("TMP117 bus is not ready");
		return -ENODEV;
	}

	if (shb_tmp117_reg_read(TMP117_REG_DEVICE_ID, &dev_id) < 0) {
		LOG_WRN("TMP117 device ID read failed, continuing with raw temperature reads");
	} else if (dev_id != TMP117_DEVICE_ID) {
		LOG_WRN("TMP117 device ID mismatch: 0x%04x", dev_id);
	}

	shb_tmp117_ready = true;
	LOG_INF("TMP117 ready");
	return 0;
}

int shb_tmp117_read_temperature(struct sensor_value *temperature)
{
	uint16_t raw;
	int16_t signed_raw;
	int32_t temp_uc;
	int ret;

	if ((temperature == NULL) || !shb_tmp117_ready) {
		return -EINVAL;
	}

	ret = shb_tmp117_reg_read(TMP117_REG_TEMP, &raw);
	if (ret < 0) {
		LOG_ERR("TMP117 read failed: %d", ret);
		return ret;
	}

	signed_raw = (int16_t)raw;
	temp_uc = (int32_t)(((int64_t)signed_raw * TMP117_TEMP_RESOLUTION_UC) / 10LL);
	temperature->val1 = temp_uc / 1000000;
	temperature->val2 = temp_uc % 1000000;

	return 0;
}

bool shb_tmp117_is_ready(void)
{
	return shb_tmp117_ready;
}
```
